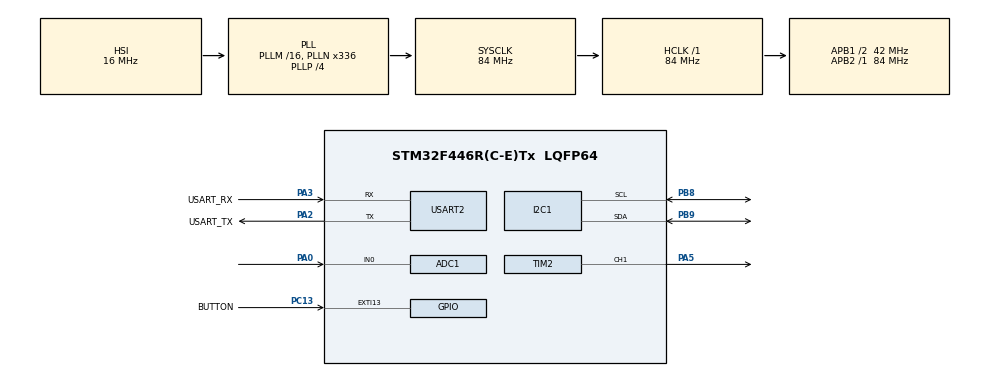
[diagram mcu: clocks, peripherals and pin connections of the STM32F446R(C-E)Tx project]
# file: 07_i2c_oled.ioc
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ADC1.Channel-0\#ChannelRegularConversion=ADC_CHANNEL_0
ADC1.NbrOfConversionFlag=1
ADC1.Rank-0\#ChannelRegularConversion=1
ADC1.SamplingTime-0\#ChannelRegularConversion=ADC_SAMPLETIME_84CYCLES
ADC1.master=1
I2C1.I2C_Mode=I2C_Fast
Mcu.Family=STM32F4
Mcu.Name=STM32F446R(C-E)Tx
Mcu.Package=LQFP64
NUCLEO-F446RE.BUTTON=0
NVIC.EXTI15_10_IRQn=true\:0\:0\:false\:false\:true\:true\:true\:true
NVIC.PriorityGroup=NVIC_PRIORITYGROUP_0
NVIC.TIM6_DAC_IRQn=true\:0\:0\:false\:false\:true\:true\:true\:true
PA0-WKUP.Signal=ADCx_IN0
PA13.GPIO_Label=TMS
PA13.Mode=Serial_Wire
PA13.Signal=SYS_JTMS-SWDIO
PA14.GPIO_Label=TCK
PA14.Mode=Serial_Wire
PA14.Signal=SYS_JTCK-SWCLK
PA2.GPIO_Label=USART_TX
PA2.GPIO_Speed=GPIO_SPEED_FREQ_VERY_HIGH
PA2.Mode=Asynchronous
PA2.Signal=USART2_TX
PA3.GPIO_Label=USART_RX
PA3.Mode=Asynchronous
PA3.Signal=USART2_RX
PA5.Signal=S_TIM2_CH1_ETR
PB3.GPIO_Label=SWO
PB3.Signal=SYS_JTDO-SWO
PB8.Mode=I2C
PB8.Signal=I2C1_SCL
PB9.Mode=I2C
PB9.Signal=I2C1_SDA
PC13.GPIO_Label=BUTTON
PC13.Signal=GPXTI13
PC14-OSC32_IN.Signal=RCC_OSC32_IN
PC15-OSC32_OUT.Signal=RCC_OSC32_OUT
PH0-OSC_IN.Signal=RCC_OSC_IN
PH1-OSC_OUT.Signal=RCC_OSC_OUT
ProjectManager.HeapSize=0x200
ProjectManager.StackSize=0x400
ProjectManager.TargetToolchain=STM32CubeIDE
RCC.AHBFreq_Value=84000000
RCC.APB1CLKDivider=RCC_HCLK_DIV2
RCC.APB1Freq_Value=42000000
RCC.APB1TimFreq_Value=84000000
RCC.APB2Freq_Value=84000000
RCC.APB2TimFreq_Value=84000000
RCC.CortexFreq_Value=84000000
RCC.FLatency-AdvancedSettings=FLASH_LATENCY_2
RCC.HCLKFreq_Value=84000000
RCC.HSE_VALUE=8000000
RCC.HSI_VALUE=16000000
RCC.LSE_VALUE=32768
RCC.PLLN=336
RCC.PLLP=RCC_PLLP_DIV4
RCC.SYSCLKFreq_VALUE=84000000
RCC.SYSCLKSource=RCC_SYSCLKSOURCE_PLLCLK
RCC.USBFreq_Value=168000000
RCC.VCOOutputFreq_Value=336000000
SH.ADCx_IN0.0=ADC1_IN0,IN0
SH.S_TIM2_CH1_ETR.0=TIM2_CH1,PWM Generation1 CH1
TIM2.AutoReloadPreload=TIM_AUTORELOAD_PRELOAD_ENABLE
TIM2.Channel-PWM\ Generation1\ CH1=TIM_CHANNEL_1
TIM2.Period=999
TIM2.Prescaler=83
TIM6.AutoReloadPreload=TIM_AUTORELOAD_PRELOAD_ENABLE
TIM6.Period=4999
TIM6.Prescaler=8399
USART2.VirtualMode=VM_ASYNC
VP_NUCLEO-F446RE_VS_BSP_COMMON.Mode=COMMON
VP_TIM2_VS_ClockSourceINT.Mode=Internal
VP_TIM6_VS_ClockSourceINT.Mode=Enable_Timer
board=NUCLEO-F446RE

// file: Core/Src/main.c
/* USER CODE BEGIN Header */
/**
  ******************************************************************************
  * @file           : main.c
  * @brief          : Main program body
  ******************************************************************************
  * @attention
  *
  * Copyright (c) 2026 STMicroelectronics.
  * All rights reserved.
  *
  * This software is licensed under terms that can be found in the LICENSE file
  * in the root directory of this software component.
  * If no LICENSE file comes with this software, it is provided AS-IS.
  *
  ******************************************************************************
  */
/* USER CODE END Header */
#include "main.h"

/* USER CODE BEGIN Includes */
#include <stdio.h>
#include "ssd1306.h"
#include "ssd1306_fonts.h"

/* USER CODE END Includes */

ADC_HandleTypeDef hadc1;

I2C_HandleTypeDef hi2c1;

TIM_HandleTypeDef htim2;
TIM_HandleTypeDef htim6;

UART_HandleTypeDef huart2;

/* USER CODE BEGIN PV */
uint32_t adcValue  = 0;
uint32_t lastPrint = 0;
/* USER CODE END PV */

void SystemClock_Config(void);
static void MX_GPIO_Init(void);
static void MX_USART2_UART_Init(void);
static void MX_TIM6_Init(void);
static void MX_TIM2_Init(void);
static void MX_ADC1_Init(void);
static void MX_I2C1_Init(void);

/* USER CODE BEGIN 0 */
int __io_putchar(int ch)
{
    HAL_UART_Transmit(&huart2, (uint8_t *)&ch, 1, HAL_MAX_DELAY);
    return ch;
}
uint32_t readKnobAverage(void)
{
    uint32_t sum = 0;

    for (int i = 0; i < 8; i++)
    {
        HAL_ADC_Start(&hadc1);
        HAL_ADC_PollForConversion(&hadc1, 10);
        sum += HAL_ADC_GetValue(&hadc1);
        HAL_ADC_Stop(&hadc1);
    }

    return sum / 8;
}

/* USER CODE END 0 */

int main(void)
{

  /* MCU Configuration--------------------------------------------------------*/

  /* Reset of all peripherals, Initializes the Flash interface and the Systick. */
  HAL_Init();

  /* Configure the system clock */
  SystemClock_Config();

  /* Initialize all configured peripherals */
  MX_GPIO_Init();
  MX_USART2_UART_Init();
  MX_TIM6_Init();
  MX_TIM2_Init();
  MX_ADC1_Init();
  MX_I2C1_Init();
  /* USER CODE BEGIN 2 */
  HAL_TIM_PWM_Start(&htim2, TIM_CHANNEL_1);
  setvbuf(stdout, NULL, _IONBF, 0);
  printf("Scanning I2C bus...\r\n");
  ssd1306_Init();
  ssd1306_Fill(Black);
  ssd1306_SetCursor(10, 25);
  ssd1306_WriteString("Hello STM32!", Font_7x10, White);
  ssd1306_UpdateScreen();
  HAL_Delay(1500);
  for (uint8_t addr = 1; addr < 128; addr++)
  {
      if (HAL_I2C_IsDeviceReady(&hi2c1, addr << 1, 2, 10) == HAL_OK)
      {
          printf("Found device at 0x%02X\r\n", addr);
      }
  }
  printf("Scan done\r\n");
  printf("Lesson 06: turn the knob\r\n");
  HAL_TIM_PWM_Start(&htim2, TIM_CHANNEL_1);

  /* USER CODE END 2 */

  /* Infinite loop */
  while (1)
  {

    /* USER CODE BEGIN 3 */
	  if (HAL_GetTick() - lastPrint >= 200)
	  {
	      lastPrint = HAL_GetTick();
	      uint32_t seconds = HAL_GetTick() / 1000;
	      char line[20];

	      ssd1306_Fill(Black);

	      ssd1306_SetCursor(0, 0);
	      ssd1306_WriteString("OLED test", Font_7x10, White);

	      sprintf(line, "%lu s", seconds);                 // time since start
	      ssd1306_SetCursor(0, 20);
	      ssd1306_WriteString(line, Font_11x18, White);

	      uint8_t barWidth = (HAL_GetTick() / 20) % 128;   // bar grows, then restarts
	      ssd1306_DrawRectangle(0, 52, 127, 63, White);
	      ssd1306_FillRectangle(0, 52, barWidth, 63, White);

	      ssd1306_UpdateScreen();
	  }
  }
  /* USER CODE END 3 */
}

void SystemClock_Config(void)
{
  RCC_OscInitTypeDef RCC_OscInitStruct = {0};
  RCC_ClkInitTypeDef RCC_ClkInitStruct = {0};

  /** Configure the main internal regulator output voltage
  */
  __HAL_RCC_PWR_CLK_ENABLE();
  __HAL_PWR_VOLTAGESCALING_CONFIG(PWR_REGULATOR_VOLTAGE_SCALE3);

  /** Initializes the RCC Oscillators according to the specified parameters
  * in the RCC_OscInitTypeDef structure.
  */
  RCC_OscInitStruct.OscillatorType = RCC_OSCILLATORTYPE_HSI;
  RCC_OscInitStruct.HSIState = RCC_HSI_ON;
  RCC_OscInitStruct.HSICalibrationValue = RCC_HSICALIBRATION_DEFAULT;
  RCC_OscInitStruct.PLL.PLLState = RCC_PLL_ON;
  RCC_OscInitStruct.PLL.PLLSource = RCC_PLLSOURCE_HSI;
  RCC_OscInitStruct.PLL.PLLM = 16;
  RCC_OscInitStruct.PLL.PLLN = 336;
  RCC_OscInitStruct.PLL.PLLP = RCC_PLLP_DIV4;
  RCC_OscInitStruct.PLL.PLLQ = 2;
  RCC_OscInitStruct.PLL.PLLR = 2;
  if (HAL_RCC_OscConfig(&RCC_OscInitStruct) != HAL_OK)
  {
    Error_Handler();
  }

  /** Initializes the CPU, AHB and APB buses clocks
  */
  RCC_ClkInitStruct.ClockType = RCC_CLOCKTYPE_HCLK|RCC_CLOCKTYPE_SYSCLK
                              |RCC_CLOCKTYPE_PCLK1|RCC_CLOCKTYPE_PCLK2;
  RCC_ClkInitStruct.SYSCLKSource = RCC_SYSCLKSOURCE_PLLCLK;
  RCC_ClkInitStruct.AHBCLKDivider = RCC_SYSCLK_DIV1;
  RCC_ClkInitStruct.APB1CLKDivider = RCC_HCLK_DIV2;
  RCC_ClkInitStruct.APB2CLKDivider = RCC_HCLK_DIV1;

  if (HAL_RCC_ClockConfig(&RCC_ClkInitStruct, FLASH_LATENCY_2) != HAL_OK)
  {
    Error_Handler();
  }
}

static void MX_ADC1_Init(void)
{

  ADC_ChannelConfTypeDef sConfig = {0};

  /** Configure the global features of the ADC (Clock, Resolution, Data Alignment and number of conversion)
  */
  hadc1.Instance = ADC1;
  hadc1.Init.ClockPrescaler = ADC_CLOCK_SYNC_PCLK_DIV4;
  hadc1.Init.Resolution = ADC_RESOLUTION_12B;
  hadc1.Init.ScanConvMode = DISABLE;
  hadc1.Init.ContinuousConvMode = DISABLE;
  hadc1.Init.DiscontinuousConvMode = DISABLE;
  hadc1.Init.ExternalTrigConvEdge = ADC_EXTERNALTRIGCONVEDGE_NONE;
  hadc1.Init.ExternalTrigConv = ADC_SOFTWARE_START;
  hadc1.Init.DataAlign = ADC_DATAALIGN_RIGHT;
  hadc1.Init.NbrOfConversion = 1;
  hadc1.Init.DMAContinuousRequests = DISABLE;
  hadc1.Init.EOCSelection = ADC_EOC_SINGLE_CONV;
  if (HAL_ADC_Init(&hadc1) != HAL_OK)
  {
    Error_Handler();
  }

  /** Configure for the selected ADC regular channel its corresponding rank in the sequencer and its sample time.
  */
  sConfig.Channel = ADC_CHANNEL_0;
  sConfig.Rank = 1;
  sConfig.SamplingTime = ADC_SAMPLETIME_84CYCLES;
  if (HAL_ADC_ConfigChannel(&hadc1, &sConfig) != HAL_OK)
  {
    Error_Handler();
  }

}

static void MX_I2C1_Init(void)
{

  hi2c1.Instance = I2C1;
  hi2c1.Init.ClockSpeed = 400000;
  hi2c1.Init.DutyCycle = I2C_DUTYCYCLE_2;
  hi2c1.Init.OwnAddress1 = 0;
  hi2c1.Init.AddressingMode = I2C_ADDRESSINGMODE_7BIT;
  hi2c1.Init.DualAddressMode = I2C_DUALADDRESS_DISABLE;
  hi2c1.Init.OwnAddress2 = 0;
  hi2c1.Init.GeneralCallMode = I2C_GENERALCALL_DISABLE;
  hi2c1.Init.NoStretchMode = I2C_NOSTRETCH_DISABLE;
  if (HAL_I2C_Init(&hi2c1) != HAL_OK)
  {
    Error_Handler();
  }

}

static void MX_TIM2_Init(void)
{

  TIM_ClockConfigTypeDef sClockSourceConfig = {0};
  TIM_MasterConfigTypeDef sMasterConfig = {0};
  TIM_OC_InitTypeDef sConfigOC = {0};

  htim2.Instance = TIM2;
  htim2.Init.Prescaler = 83;
  htim2.Init.CounterMode = TIM_COUNTERMODE_UP;
  htim2.Init.Period = 999;
  htim2.Init.ClockDivision = TIM_CLOCKDIVISION_DIV1;
  htim2.Init.AutoReloadPreload = TIM_AUTORELOAD_PRELOAD_ENABLE;
  if (HAL_TIM_Base_Init(&htim2) != HAL_OK)
  {
    Error_Handler();
  }
  sClockSourceConfig.ClockSource = TIM_CLOCKSOURCE_INTERNAL;
  if (HAL_TIM_ConfigClockSource(&htim2, &sClockSourceConfig) != HAL_OK)
  {
    Error_Handler();
  }
  if (HAL_TIM_PWM_Init(&htim2) != HAL_OK)
  {
    Error_Handler();
  }
  sMasterConfig.MasterOutputTrigger = TIM_TRGO_RESET;
  sMasterConfig.MasterSlaveMode = TIM_MASTERSLAVEMODE_DISABLE;
  if (HAL_TIMEx_MasterConfigSynchronization(&htim2, &sMasterConfig) != HAL_OK)
  {
    Error_Handler();
  }
  sConfigOC.OCMode = TIM_OCMODE_PWM1;
  sConfigOC.Pulse = 0;
  sConfigOC.OCPolarity = TIM_OCPOLARITY_HIGH;
  sConfigOC.OCFastMode = TIM_OCFAST_DISABLE;
  if (HAL_TIM_PWM_ConfigChannel(&htim2, &sConfigOC, TIM_CHANNEL_1) != HAL_OK)
  {
    Error_Handler();
  }
  HAL_TIM_MspPostInit(&htim2);

}

static void MX_TIM6_Init(void)
{

  TIM_MasterConfigTypeDef sMasterConfig = {0};

  htim6.Instance = TIM6;
  htim6.Init.Prescaler = 8399;
  htim6.Init.CounterMode = TIM_COUNTERMODE_UP;
  htim6.Init.Period = 4999;
  htim6.Init.AutoReloadPreload = TIM_AUTORELOAD_PRELOAD_ENABLE;
  if (HAL_TIM_Base_Init(&htim6) != HAL_OK)
  {
    Error_Handler();
  }
  sMasterConfig.MasterOutputTrigger = TIM_TRGO_RESET;
  sMasterConfig.MasterSlaveMode = TIM_MASTERSLAVEMODE_DISABLE;
  if (HAL_TIMEx_MasterConfigSynchronization(&htim6, &sMasterConfig) != HAL_OK)
  {
    Error_Handler();
  }

}

static void MX_USART2_UART_Init(void)
{

  huart2.Instance = USART2;
  huart2.Init.BaudRate = 115200;
  huart2.Init.WordLength = UART_WORDLENGTH_8B;
  huart2.Init.StopBits = UART_STOPBITS_1;
  huart2.Init.Parity = UART_PARITY_NONE;
  huart2.Init.Mode = UART_MODE_TX_RX;
  huart2.Init.HwFlowCtl = UART_HWCONTROL_NONE;
  huart2.Init.OverSampling = UART_OVERSAMPLING_16;
  if (HAL_UART_Init(&huart2) != HAL_OK)
  {
    Error_Handler();
  }

}

static void MX_GPIO_Init(void)
{
  GPIO_InitTypeDef GPIO_InitStruct = {0};

  /* GPIO Ports Clock Enable */
  __HAL_RCC_GPIOC_CLK_ENABLE();
  __HAL_RCC_GPIOH_CLK_ENABLE();
  __HAL_RCC_GPIOA_CLK_ENABLE();
  __HAL_RCC_GPIOB_CLK_ENABLE();

  /*Configure GPIO pin : BUTTON_Pin */
  GPIO_InitStruct.Pin = BUTTON_Pin;
  GPIO_InitStruct.Mode = GPIO_MODE_IT_RISING;
  GPIO_InitStruct.Pull = GPIO_NOPULL;
  HAL_GPIO_Init(BUTTON_GPIO_Port, &GPIO_InitStruct);

  /* EXTI interrupt init*/
  HAL_NVIC_SetPriority(EXTI15_10_IRQn, 0, 0);
  HAL_NVIC_EnableIRQ(EXTI15_10_IRQn);

}

void Error_Handler(void)
{
  __disable_irq();
  while (1)
  {
  }
}
